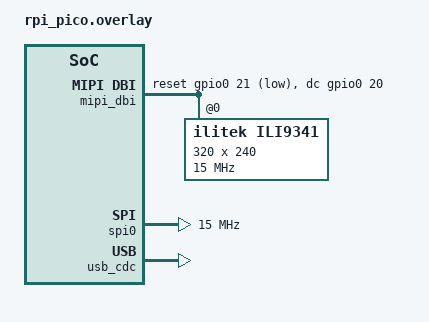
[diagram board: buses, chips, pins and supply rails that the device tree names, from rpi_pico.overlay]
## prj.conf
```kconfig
# NOTE: must fit 320x240x2   wait 153600?
#
CONFIG_GPIO=y
CONFIG_SPI=y
CONFIG_HEAP_MEM_POOL_SIZE=65536
CONFIG_MAIN_STACK_SIZE=4096

CONFIG_LOG=y
CONFIG_DISPLAY=y
CONFIG_ILI9341=y
CONFIG_MIPI_DBI=y
CONFIG_MIPI_DBI_SPI=y

#CONFIG_LVGL=y
#CONFIG_LV_FONT_MONTSERRAT_14=y
#CONFIG_LV_FONT_MONTSERRAT_24=y
#CONFIG_LV_USE_LABEL=y

CONFIG_USB_DEVICE_STACK_NEXT=y
CONFIG_USB_DEVICE_PRODUCT="Zephyr Weather Station"
CONFIG_CDC_ACM_SERIAL_INITIALIZE_AT_BOOT=y
CONFIG_CONSOLE=y
CONFIG_SERIAL=y
CONFIG_UART_LINE_CTRL=y
CONFIG_UART_CONSOLE=y
#CONFIG_ILI9341_DEBUG=y
#CONFIG_SPI_DEBUG_LOG=y
#CONFIG_MIPI_DBI_DEBUG=y

#CONFIG_LVGL_USE_IMG=y
#CONFIG_LVGL_
# BTN,ANIMIMG,CALENDAR,SWITCH,ARC,SLIDER,IMG...
#CONFIG_LV_FONT_MONTSERRAT_16=y # 10,12,14,...22,28,32
# https://github.com/kapcina69/Smartwatch/tree/first_stable
# https://github.com/CliffsDover/zephyr_lvgl_nrf52_pca10040_ili9341/blob/master/src/main.c
#
```

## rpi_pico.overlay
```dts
// #include <zephyr/dt-bindings/display/ili9xxx.h>

/ {
	chosen {
		zephyr,display = &ili9341;
		zephyr,console = &usb_cdc;
	};

	mipi_dbi {
		compatible		= "zephyr,mipi-dbi-spi";
		spi-dev			= <&spi0>;
		dc-gpios		= <&gpio0 20 GPIO_ACTIVE_HIGH>;
		reset-gpios 	= <&gpio0 21 GPIO_ACTIVE_LOW>;
		write-only;
		#address-cells	= <1>;
		#size-cells		= <0>;

		ili9341: ili9341@0 {
			compatible 			= "ilitek,ili9341";
			mipi-max-frequency	= <15000000>;
			reg 				= <0>;			// Uses cs-gpios[0]
			width 				= <320>;
			height 				= <240>;
			rotation 			= <90>; // Default, portait 240x320, 90 landscape ...
			status				= "okay";
		};
	};
};

&spi0 {
	status			= "okay";
	clock-frequency = <15000000>;
	// Note: multiple devices can have CS pins configured here, separated by ","
	// They are referenced via reg=<n>;
	cs-gpios 		= <&gpio0 17 GPIO_ACTIVE_LOW>;
};

&zephyr_udc0 {
	usb_cdc: usb_cdc_0 {
		compatible = "zephyr,cdc-acm-uart";
	};
};
```

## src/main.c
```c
#include <zephyr/kernel.h>
#include <zephyr/device.h>
#include <zephyr/drivers/display.h>
#include <zephyr/logging/log.h>

#define TILE_WIDTH  32
#define TILE_HEIGHT 32

LOG_MODULE_REGISTER(main, LOG_LEVEL_INF);

static void test_display(const struct device *display) {
    struct display_buffer_descriptor desc = {
        .width  = TILE_WIDTH,
        .height = TILE_HEIGHT,
        .pitch  = TILE_WIDTH,
    };

    // colors are 0xRRRR RGGG GGGB BBBB = 0x07e0 but there is endianity
    // so green is not 0x07e0, but 0xe007
    static uint16_t buf[TILE_WIDTH * TILE_HEIGHT];
    uint16_t colors[] = {
        0x00f8, // red
        0xe007, // green
        0x1f00, // blue
        0xffff, // white
        0x0000, // black
    };

    for (int i = 0; i < sizeof(colors)/sizeof(uint16_t); ++i) {
        // Fill buffer with color
        for (int j = 0; j < TILE_WIDTH * TILE_HEIGHT; ++j) {
            buf[j] = colors[i];
        }

        display_write(display, i * TILE_WIDTH, 0, &desc, buf);
    }
}

int main(void) {
    LOG_INF("Starting ILI9341 framebuffer test.");

    /* Get display device */
    const struct device *display_dev;
    display_dev = DEVICE_DT_GET(DT_CHOSEN(zephyr_display));
    if (!device_is_ready(display_dev)) {
        LOG_ERR("Display device not ready");
        return -1;
    }

    test_display(display_dev);

    display_blanking_off(display_dev);

    LOG_INF("Done.");
    return 0;
}
```
